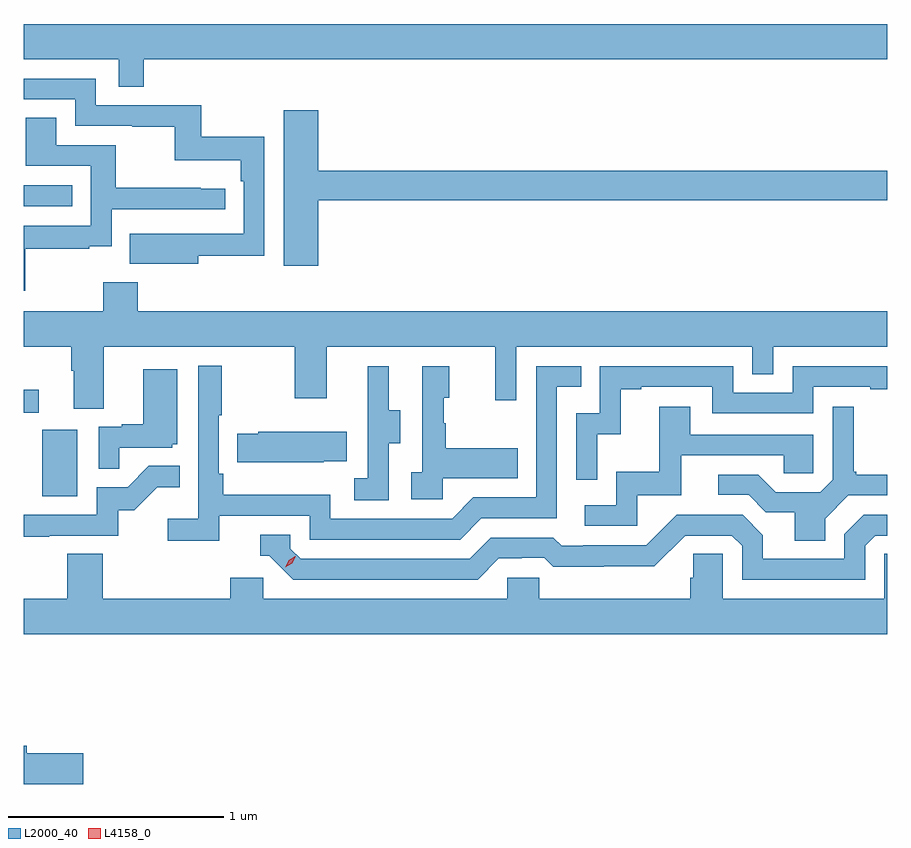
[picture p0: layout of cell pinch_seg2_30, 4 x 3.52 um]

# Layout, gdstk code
import gdstk
lib = gdstk.Library(unit=1e-6, precision=1e-09)
def R(c, l, rs):  # rectangles x0, y0, x1, y1
    for r in rs: c.add(gdstk.rectangle(r[:2], r[2:], *l))
def P(c, l, *ps):  # polygons
    for p in ps: c.add(gdstk.Polygon(p, *l))
L2000_40 = (2000, 40)
L4158_0 = (4158, 0)

pinch_seg2_30 = lib.new_cell('pinch_seg2_30')
R(pinch_seg2_30, L2000_40, [(1101.938,658.932,1102.102,659.239), (1101.854,659.319,1101.922,659.425), (1101.854,660.276,1102.079,660.372)])
P(pinch_seg2_30, L2000_40, [(1102.409,660.956),(1105.854,660.956),(1105.854,661.12),(1101.854,661.12),(1101.854,660.956),(1102.293,660.956),(1102.293,660.829),(1102.409,660.829)],
  [(1102.663,660.046),(1102.968,660.046),(1102.968,660.598),(1102.675,660.598),(1102.675,660.744),(1102.188,660.744),(1102.188,660.867),(1101.854,660.867),(1101.854,660.771),(1102.092,660.771),(1102.092,660.648),(1102.357,660.648),(1102.357,660.643),(1102.554,660.643),(1102.554,660.488),(1102.859,660.488),(1102.859,660.392),(1102.872,660.392),(1102.872,660.147),(1102.559,660.147),(1102.559,660.148),(1102.345,660.148),(1102.345,660.008),(1102.663,660.008)],
  [(1103.218,660.304),(1105.854,660.304),(1105.854,660.44),(1103.218,660.44),(1103.218,660.721),(1103.057,660.721),(1103.057,660),(1103.218,660)],
  [(1101.859,660.078),(1102.157,660.078),(1102.157,660.089),(1102.26,660.089),(1102.26,660.261),(1102.786,660.261),(1102.786,660.357),(1102.673,660.357),(1102.673,660.362),(1102.28,660.362),(1102.28,660.558),(1102.003,660.558),(1102.003,660.686),(1101.863,660.686),(1101.863,660.462),(1102.164,660.462),(1102.164,660.186),(1101.854,660.186),(1101.854,659.883),(1101.859,659.883)],
  [(1102.225,659.624),(1103.11,659.624),(1103.11,659.385),(1103.257,659.385),(1103.257,659.624),(1104.038,659.624),(1104.038,659.376),(1104.135,659.376),(1104.135,659.624),(1105.23,659.624),(1105.23,659.497),(1105.326,659.497),(1105.326,659.624),(1105.854,659.624),(1105.854,659.788),(1102.382,659.788),(1102.382,659.923),(1102.222,659.923),(1102.222,659.788),(1101.854,659.788),(1101.854,659.624),(1102.073,659.624),(1102.073,659.512),(1102.085,659.512),(1102.085,659.338),(1102.225,659.338)],
  [(1102.76,658.842),(1103.178,658.842),(1103.178,658.731),(1103.875,658.731),(1103.974,658.83),(1104.324,658.83),(1104.324,659.439),(1104.437,659.439),(1104.437,659.535),(1104.228,659.535),(1104.228,658.926),(1103.937,658.926),(1103.838,658.827),(1103.274,658.827),(1103.274,658.939),(1102.778,658.939),(1102.778,659.035),(1102.758,659.035),(1102.758,659.308),(1102.771,659.308),(1102.771,659.536),(1102.662,659.536),(1102.662,658.828),(1102.521,658.828),(1102.521,658.726),(1102.76,658.726)],
  [(1104.51,659.219),(1104.62,659.219),(1104.62,659.427),(1104.715,659.427),(1104.715,659.439),(1105.044,659.439),(1105.044,659.316),(1105.512,659.316),(1105.512,659.439),(1105.775,659.439),(1105.775,659.427),(1105.854,659.427),(1105.854,659.535),(1105.416,659.535),(1105.416,659.412),(1105.14,659.412),(1105.14,659.535),(1104.522,659.535),(1104.522,659.316),(1104.414,659.316),(1104.414,659.007),(1104.51,659.007)],
  [(1103.544,659.176),(1103.599,659.176),(1103.599,659.331),(1103.545,659.331),(1103.545,659.533),(1103.447,659.533),(1103.447,659.319),(1103.448,659.319),(1103.448,659.015),(1103.385,659.015),(1103.385,658.912),(1103.544,658.912)],
  [(1103.796,659.015),(1104.143,659.015),(1104.143,659.155),(1103.809,659.155),(1103.809,659.27),(1103.799,659.27),(1103.799,659.388),(1103.824,659.388),(1103.824,659.533),(1103.7,659.533),(1103.7,659.042),(1103.649,659.042),(1103.649,658.917),(1103.796,658.917)],
  [(1102.295,659.157),(1102.542,659.157),(1102.542,659.172),(1102.564,659.172),(1102.564,659.521),(1102.406,659.521),(1102.406,659.266),(1102.307,659.266),(1102.307,659.253),(1102.2,659.253),(1102.2,659.059),(1102.295,659.059)],
  [(1105.567,658.828),(1105.674,658.935),(1105.854,658.935),(1105.854,659.032),(1105.711,659.032),(1105.711,659.044),(1105.699,659.044),(1105.699,659.347),(1105.602,659.347),(1105.602,659.007),(1105.545,658.95),(1105.339,658.95),(1105.258,659.031),(1105.071,659.031),(1105.071,658.938),(1105.212,658.938),(1105.292,658.858),(1105.427,658.858),(1105.427,658.726),(1105.567,658.726)],
  [(1104.696,658.935),(1104.901,658.935),(1104.901,659.121),(1105.375,659.121),(1105.375,659.037),(1105.512,659.037),(1105.512,659.217),(1104.943,659.217),(1104.943,659.347),(1104.799,659.347),(1104.799,659.044),(1104.6,659.044),(1104.6,658.89),(1104.453,658.89),(1104.453,658.794),(1104.696,658.794)],
  [(1103.243,659.093),(1103.351,659.093),(1103.351,659.23),(1102.941,659.23),(1102.941,659.22),(1102.843,659.22),(1102.843,659.09),(1103.243,659.09)],
  [(1101.971,658.749),(1102.29,658.749),(1102.29,658.866),(1102.366,658.866),(1102.473,658.973),(1102.577,658.973),(1102.577,659.072),(1102.433,659.072),(1102.335,658.974),(1102.191,658.974),(1102.191,658.845),(1101.854,658.845),(1101.854,658.744),(1101.971,658.744)],
  [(1104.055,658.644),(1104.162,658.644),(1104.162,658.647),(1104.265,658.647),(1104.307,658.605),(1104.54,658.605),(1104.54,658.607),(1104.776,658.607),(1104.918,658.749),(1105.134,658.749),(1105.182,658.701),(1105.182,658.545),(1105.752,658.545),(1105.752,658.701),(1105.8,658.749),(1105.854,658.749),(1105.854,658.845),(1105.746,658.845),(1105.656,658.755),(1105.656,658.641),(1105.279,658.641),(1105.279,658.751),(1105.185,658.845),(1104.879,658.845),(1104.738,658.704),(1104.445,658.704),(1104.445,658.701),(1104.346,658.701),(1104.307,658.74),(1104.018,658.74),(1103.919,658.641),(1103.136,658.641),(1103.088,658.689),(1103.088,658.752),(1102.949,658.752),(1102.949,658.656),(1102.992,658.656),(1103.103,658.545),(1103.956,658.545)],
  [(1105.854,658.664),(1105.842,658.664),(1105.842,658.456),(1105.092,658.456),(1105.092,658.664),(1104.955,658.664),(1104.955,658.554),(1104.941,658.554),(1104.941,658.456),(1104.243,658.456),(1104.243,658.554),(1104.093,658.554),(1104.093,658.456),(1102.962,658.456),(1102.962,658.554),(1102.811,658.554),(1102.811,658.456),(1102.22,658.456),(1102.22,658.664),(1102.055,658.664),(1102.055,658.456),(1101.854,658.456),(1101.854,658.292),(1105.854,658.292)],
  [(1102.129,657.74),(1101.868,657.74),(1101.868,657.776),(1101.854,657.776),(1101.854,657.598),(1102.129,657.598)])
P(pinch_seg2_30, L4158_0, [(1103.066,658.602),(1103.066,658.602),(1103.082,658.635),(1103.112,658.654),(1103.113,658.654),(1103.113,658.654),(1103.097,658.622),(1103.066,658.602)])

lib.write_gds('pinch_seg2_30.gds')
